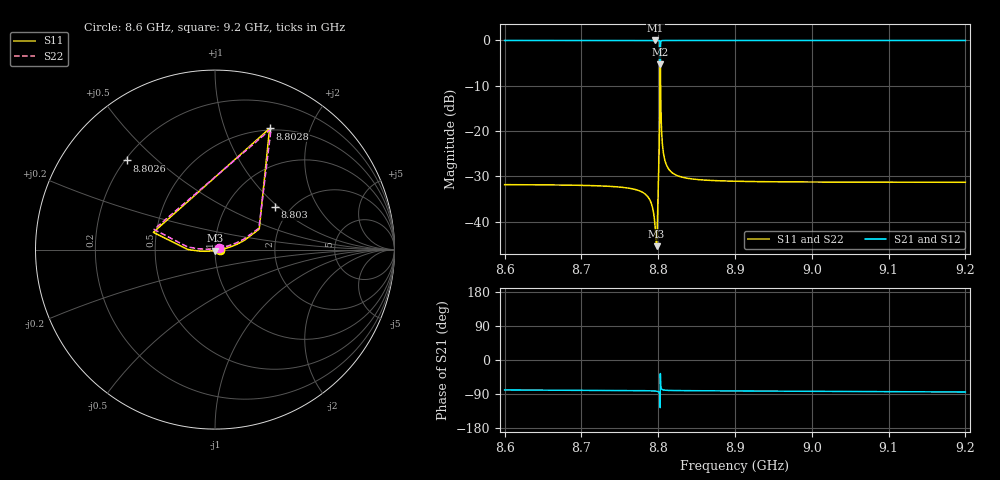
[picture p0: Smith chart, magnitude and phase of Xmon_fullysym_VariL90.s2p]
! Sonnet Data File
! From: emgraph Version : 16.52
! From Project: 171117_Xmon_fullysym
! Data is De-embedded
! Data File Written: 11/26/2017 21:44:46
!< HDATE 11/26/2017 17:24:49
!< MDATE 11/26/2017 17:24:49
!< PARAMS
!< Lj = 11.0
!< Gap = 1.0
!< Pwid = 2000.0
!< Airgap = 6.0
!< Width = 10.0
!< Lj1 = 9.0
!< END PARAMS
# GHZ S MA R 50.90000
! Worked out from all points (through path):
!   3001 points, 8.6 GHz to 9.2 GHz, reference 50.9 ohm
!   highest |S21| = 0.00 dB at 8.7964 GHz (marker M1); lowest = -5.3 dB at 8.8028 GHz (marker M2)
!   lowest |S11| = -45.4 dB at 8.7978 GHz (marker M3), VSWR 1.01, Z = 51 - j0.543 ohm
!   |S11| at or under -10 dB: start of sweep to 8.8024 GHz; 8.8031 GHz to end of sweep
!   |S22| runs from -45.1 to -2.6 dB; largest |S21 - S12| = 4.1e-11
!   S11 on the Smith chart (normalised r, x): 8.6 GHz: 1.05, -0.00; 8.8026 GHz: 0.21, +0.40; 8.8028 GHz: 0.48, +1.44; 8.803 GHz: 1.67, +0.94; 9.2 GHz: 1.06, -0.01
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8.6  0.02562 -0.3  0.9997 -79.0  0.9997 -79.0  0.02562 22.3
!< P1 F=8.6 Eeff=(6.44845572 -2.9799e-5) Z0=(50.9087207 1.17006e-4) R=0.0 C=0.0
!< P2 F=8.6 Eeff=(6.44845572 -2.9799e-5) Z0=(50.9087207 1.17006e-4) R=0.0 C=0.0
8.7  0.02516 -1.7  0.9997 -80.0  0.9997 -80.0  0.02516 21.8
8.7794  0.02114 -5.3  0.9998 -80.9  0.9998 -80.9  0.02115 23.4
8.7902  0.01661 -9.9  0.9998 -81.3  0.9998 -81.3  0.01663 27.4
8.7964  0.007803 -35.2  0.9999 -81.9  0.9999 -81.9  0.007891 52.0
8.7978  0.005364 -83.5  0.9999 -82.3  0.9999 -82.3  0.005569 98.9
8.799  0.01011 -140.7  0.9998 -82.8  0.9998 -82.8  0.0103 153.5
8.8002  0.02567 -161.8  0.9993 -83.7  0.9993 -83.7  0.02583 172.6
8.8014  0.07197 -172.7  0.996 -86.4  0.996 -86.4  0.07219 177.6
8.8026  0.6989 134.7  0.6002 -125.8  0.6002 -125.8  0.7001 133.1
8.8028  0.7401 65.7  0.544 -35.7  0.544 -35.7  0.7412 65.1
8.803  0.409 35.1  0.888 -58.2  0.888 -58.2  0.4096 35.4
8.8048  0.08692 10.0  0.9957 -77.4  0.9957 -77.4  0.08699 16.0
8.8058  0.06742 7.6  0.9975 -78.5  0.9975 -78.5  0.06746 15.8
8.807  0.05597 5.9  0.9983 -79.2  0.9983 -79.2  0.056 16.0
8.8096  0.04484 3.8  0.9989 -79.8  0.9989 -79.8  0.04485 16.7
8.8194  0.03408 0.8  0.9994 -80.6  0.9994 -80.6  0.03408 18.2
8.8438  0.02963 -1.2  0.9996 -81.0  0.9996 -81.0  0.02963 19.1
8.9002  0.02793 -2.6  0.9996 -81.7  0.9996 -81.7  0.02793 19.3
9.0002  0.02739 -4.0  0.9996 -82.6  0.9996 -82.6  0.02739 18.8
9.1  0.02726 -5.2  0.9996 -83.5  0.9996 -83.5  0.02726 18.1
9.2  0.02721 -6.4  0.9996 -84.5  0.9996 -84.5  0.02721 17.4
